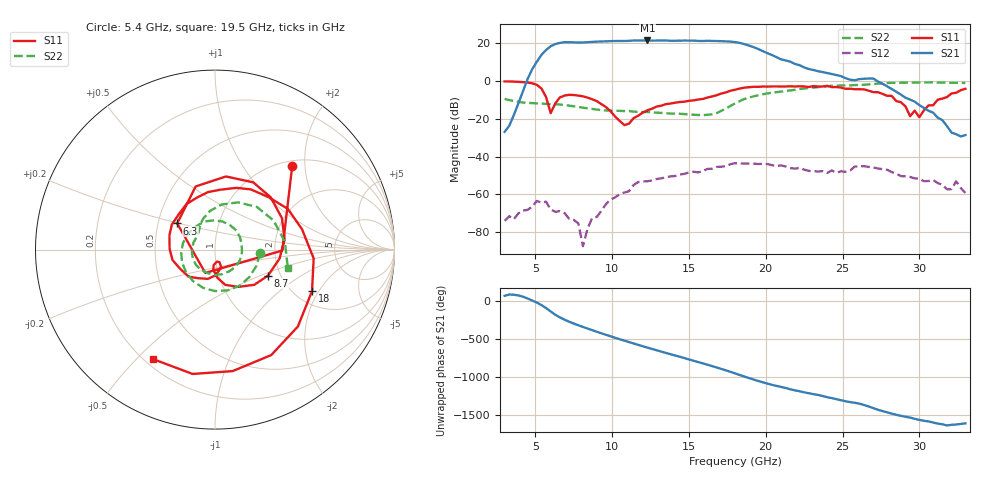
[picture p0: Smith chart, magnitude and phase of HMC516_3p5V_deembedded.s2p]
!Hittite Microwave Corporation
!20 Alpha Road
!Chelmsford, MA 01824
!Tel: 978-250-3343
!Fax: 978-250-3373
!Device: HMC516, 7-17 GHz, GaAs PHEMT MMIC Low Noise Amplifier Die
!Misc: Vdd1 = Vdd2 = Vdd3 = +3.5V, data includes two K connectors, Room
# MHZ S MA R 50
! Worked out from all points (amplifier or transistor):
!   101 points, 3 GHz to 33 GHz, reference 50 ohm
!   highest |S21| = 21.5 dB at 12.3 GHz (marker M1)
!   |S21| within 3 dB of that: 6.015 GHz to 19.01 GHz (13 GHz wide, 104 % of centre)
!   unconditionally stable (mu >= 1): start of sweep to end of sweep
!   at 7.8 GHz: K = 224.57, MAG = 21.4 dB, |S12| = -75.4 dB
!   at 18 GHz: K = 4.40, MAG = 22.7 dB, |S12| = -43.5 dB
!   at 33 GHz: K = 1616.66, MAG = -19.8 dB, |S12| = -59.3 dB
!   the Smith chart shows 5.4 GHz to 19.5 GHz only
!   S11 on the Smith chart (normalised r, x): 5.4 GHz: 1.10, +1.72; 6.3 GHz: 0.63, +0.20; 8.7 GHz: 1.72, -0.56; 18 GHz: 2.47, -1.75; 19.5 GHz: 0.23, -0.56
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3000  0.975 -141.5  0.045 61.7  0.0001976 126.8  0.337 135.0
4800  0.869 109.0  2.071 0.9  0.0004712 56.9  0.26 28.3
5400  0.634 47.3  4.951 -59.2  0.0006008 20.7  0.252 -4.9
6000  0.141 -112.6  8.338 -142.7  0.0003956 10.9  0.245 -38.3
6300  0.256 145.3  9.537 174.4  0.0003436 -12.4  0.244 -55.5
7200  0.431 60.4  10.65 83.5  0.0002257 -12.9  0.223 -107.5
8100  0.392 8.3  10.48 15.1  4.231e-05 -33.8  0.197 -158.7
8700  0.329 -26.2  10.86 -26.9  0.0002366 66.9  0.182 168.9
9600  0.204 -73.9  11.23 -87.9  0.000552 66.0  0.166 120.8
10800  0.068 -81.4  11.49 -164.8  0.001114 28.7  0.16 59.5
11400  0.104 -70.5  11.81 158.8  0.001765 12.9  0.155 25.0
12300  0.168 -103.8  11.86 104.4  0.002219 -33.7  0.151 -22.8
13200  0.222 -151.6  11.85 52.4  0.002643 -63.5  0.143 -73.5
14400  0.278 149.8  11.68 -14.6  0.003352 -113.9  0.136 -141.8
15600  0.323 96.8  11.54 -84.5  0.003815 -173.5  0.126 161.6
16800  0.419 44.0  11.44 -154.7  0.005295 129.5  0.141 128.4
18000  0.588 -23.2  10.73 127.8  0.006662 57.2  0.254 81.7
19500  0.701 -119.6  7.062 28.6  0.006332 -28.2  0.418 -14.0
20700  0.719 172.8  4.285 -36.4  0.005612 -86.9  0.507 -93.4
23100  0.734 69.4  1.961 -144.2  0.004114 -174.2  0.67 144.6
28200  0.405 -111.5  0.614 -38.4  0.003877 -20.8  0.895 -32.0
33000  0.622 151.0  0.037 -166.1  0.001084 -115.3  0.888 145.0
